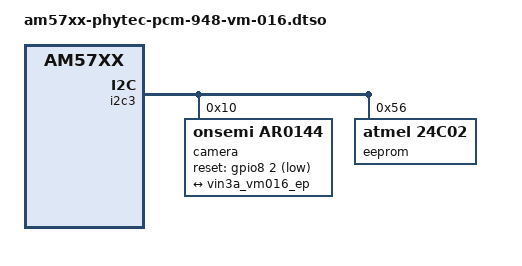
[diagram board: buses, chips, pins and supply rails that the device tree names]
// SPDX-License-Identifier: GPL-2.0
/*
 * Copyright (C) 2023 PHYTEC Messtechnik GmbH
 * Author: Primoz Fiser <primoz.fiser@norik.com>
 */

/dts-v1/;
/plugin/;

#include "am57xx-phytec-pcm-948-cam.dtsi"

&cam_ext_mclk {
	status = "okay";
};

&i2c3 {
	#address-cells = <1>;
	#size-cells = <0>;

	camera@10 {
		compatible = "onsemi,ar0144";
		reg = <0x10>;

		pinctrl-names = "default";
		pinctrl-0 = <&cam_pins_default &cam_pins_iodelay_conf>;
		reset-gpios = <&gpio8 2 GPIO_ACTIVE_LOW>;
		onsemi,extra-wait-after-reset = <50000>;

		clock-names = "ext";
		clocks = <&cam_ext_mclk>;

		port {
			vm016_ep: endpoint {
				remote-endpoint = <&vin3a_vm016_ep>;
				bus-type = <5>; /* Parallel */
				bus-width = <8>;
				data-shift = <4>;
				link-frequencies = /bits/ 64 <74250000>;
			};
		};
	};

	eeprom@56 {
		compatible = "atmel,24c02";
		reg = <0x56>;
		pagesize = <16>;
	};

};

&vin3a {
	vin3a_vm016_ep: endpoint {
		remote-endpoint = <&vm016_ep>;
		bus-type = <5>;
		hsync-active = <1>;
		slave-mode;
		vsync-active = <1>;
	};
};
